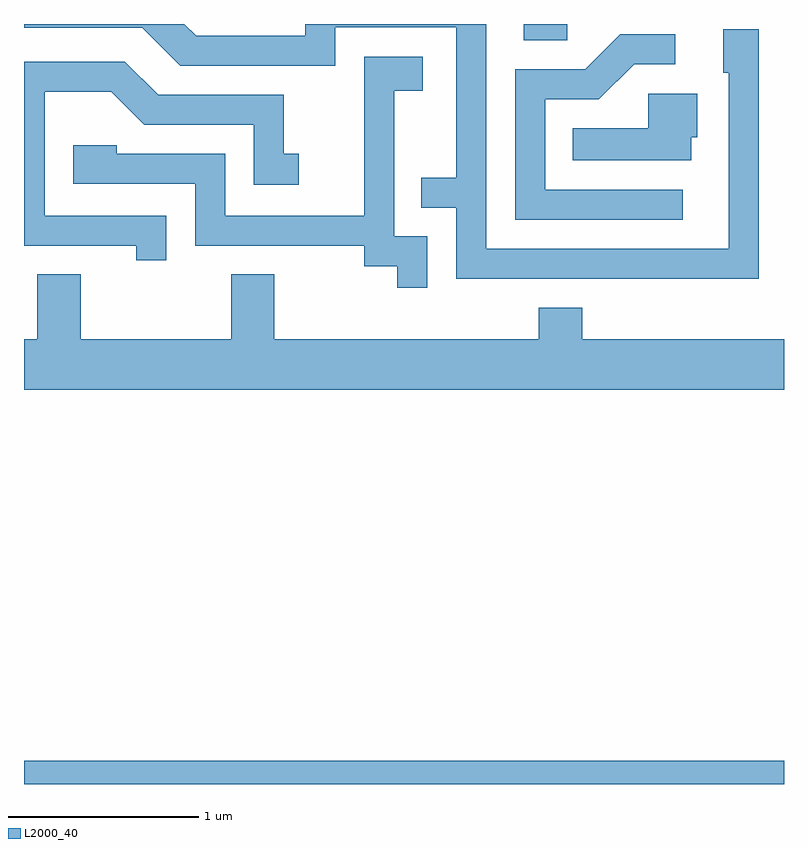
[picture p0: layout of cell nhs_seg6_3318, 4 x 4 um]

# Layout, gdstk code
import gdstk
lib = gdstk.Library(unit=1e-6, precision=1e-09)
def R(c, l, rs):  # rectangles x0, y0, x1, y1
    for r in rs: c.add(gdstk.rectangle(r[:2], r[2:], *l))
def P(c, l, *ps):  # polygons
    for p in ps: c.add(gdstk.Polygon(p, *l))
L2000_40 = (2000, 40)

nhs_seg6_3318 = lib.new_cell('nhs_seg6_3318')
R(nhs_seg6_3318, L2000_40, [(285.611,1570.162,289.611,1570.284), (288.241,1574.076,288.469,1574.162)])
P(nhs_seg6_3318, L2000_40, [(289.479,1574.134),(289.291,1574.134),(289.291,1573.906),(289.321,1573.906),(289.321,1572.979),(288.044,1572.979),(288.044,1574.162),(287.091,1574.162),(287.091,1574.099),(286.517,1574.099),(286.454,1574.162),(285.611,1574.162),(285.611,1574.141),(286.234,1574.141),(286.434,1573.941),(287.249,1573.941),(287.249,1574.146),(287.886,1574.146),(287.886,1573.354),(287.703,1573.354),(287.703,1573.196),(287.886,1573.196),(287.886,1572.821),(289.479,1572.821)],
  [(289.078,1573.289),(288.354,1573.289),(288.354,1573.766),(288.637,1573.766),(288.822,1573.951),(289.038,1573.951),(289.038,1574.109),(288.749,1574.109),(288.564,1573.924),(288.196,1573.924),(288.196,1573.131),(289.078,1573.131)],
  [(287.734,1573.044),(287.559,1573.044),(287.559,1573.811),(287.709,1573.811),(287.709,1573.989),(287.401,1573.989),(287.401,1573.154),(286.669,1573.154),(286.669,1573.479),(286.099,1573.479),(286.099,1573.524),(285.871,1573.524),(285.871,1573.321),(286.511,1573.321),(286.511,1572.996),(287.401,1572.996),(287.401,1572.886),(287.576,1572.886),(287.576,1572.773),(287.734,1572.773)],
  [(286.359,1573.154),(285.719,1573.154),(285.719,1573.806),(286.069,1573.806),(286.244,1573.631),(286.821,1573.631),(286.821,1573.316),(287.058,1573.316),(287.058,1573.479),(286.979,1573.479),(286.979,1573.789),(286.317,1573.789),(286.142,1573.964),(285.611,1573.964),(285.611,1572.996),(286.201,1572.996),(286.201,1572.918),(286.359,1572.918)],
  [(289.124,1573.566),(289.154,1573.566),(289.154,1573.794),(288.896,1573.794),(288.896,1573.614),(288.498,1573.614),(288.498,1573.446),(289.124,1573.446)],
  [(289.611,1572.504),(288.549,1572.504),(288.549,1572.669),(288.321,1572.669),(288.321,1572.504),(286.929,1572.504),(286.929,1572.844),(286.701,1572.844),(286.701,1572.504),(285.909,1572.504),(285.909,1572.844),(285.681,1572.844),(285.681,1572.504),(285.611,1572.504),(285.611,1572.236),(289.611,1572.236)])

lib.write_gds('nhs_seg6_3318.gds')
